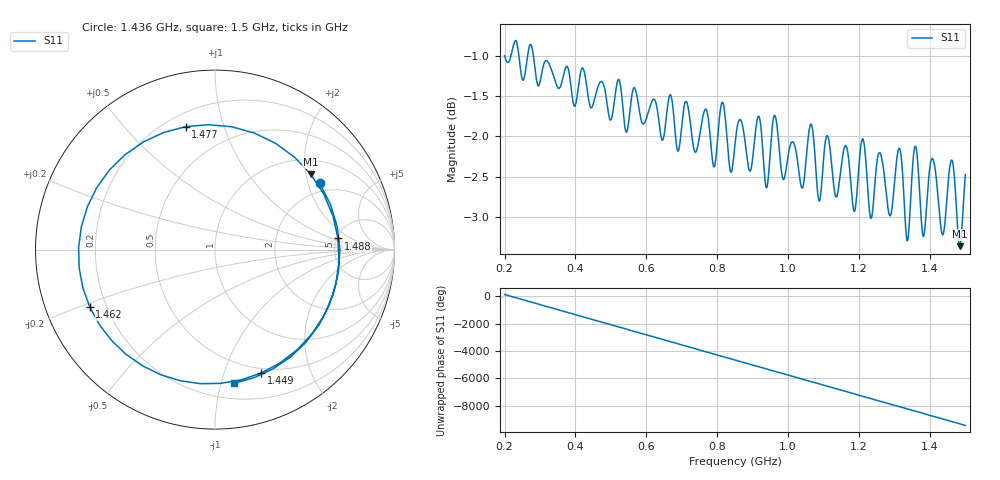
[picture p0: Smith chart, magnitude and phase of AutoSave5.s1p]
!Agilent N9923A: A.05.17
!Date: Sunday, 01 January 2006 13:17:47
!Model: N9923A
!Serial: MY50371189
!CHECKSUM:0934028858
!Correction: S11(ON U)
!S1P File: Measurement: S11:
# Hz S RI R 50
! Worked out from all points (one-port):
!   1001 points, 200 MHz to 1.5 GHz, reference 50 ohm
!   lowest |S11| = -3.4 dB at 1.484 GHz (marker M1), VSWR 5.23, Z = 68.8 + j107 ohm
!   |S11| at or under -10 dB: nowhere
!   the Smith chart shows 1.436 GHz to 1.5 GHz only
!   S11 on the Smith chart (normalised r, x): 1.436 GHz: 1.69, +2.38; 1.449 GHz: 0.45, -1.34; 1.462 GHz: 0.14, -0.21; 1.477 GHz: 0.28, +0.75; 1.488 GHz: 5.11, +1.21; 1.5 GHz: 0.32, -1.10
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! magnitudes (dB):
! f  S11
! 200 MHz  -1.0
! 362.5 MHz  -1.3
! 525 MHz  -1.3
! 543.2 MHz  -1.9
! 668 MHz  -1.5
! 687.5 MHz  -2.2
! 712.2 MHz  -1.6
! 738.2 MHz  -2.2
! 850 MHz  -2.1
! 1.012 GHz  -2.1
! 1.175 GHz  -2.5
! 1.188 GHz  -2.9
! 1.211 GHz  -2.0
! 1.235 GHz  -3.0
! 1.26 GHz  -2.2
! 1.288 GHz  -3.0
! 1.314 GHz  -2.2
! 1.337 GHz  -3.3
! 1.358 GHz  -2.1
! 1.38 GHz  -3.2
! 1.406 GHz  -2.3
! 1.436 GHz  -3.2
! 1.449 GHz  -2.7
! 1.462 GHz  -2.3
! 1.477 GHz  -3.0
! 1.484 GHz  -3.4
! 1.488 GHz  -3.3
! 1.5 GHz  -2.5
